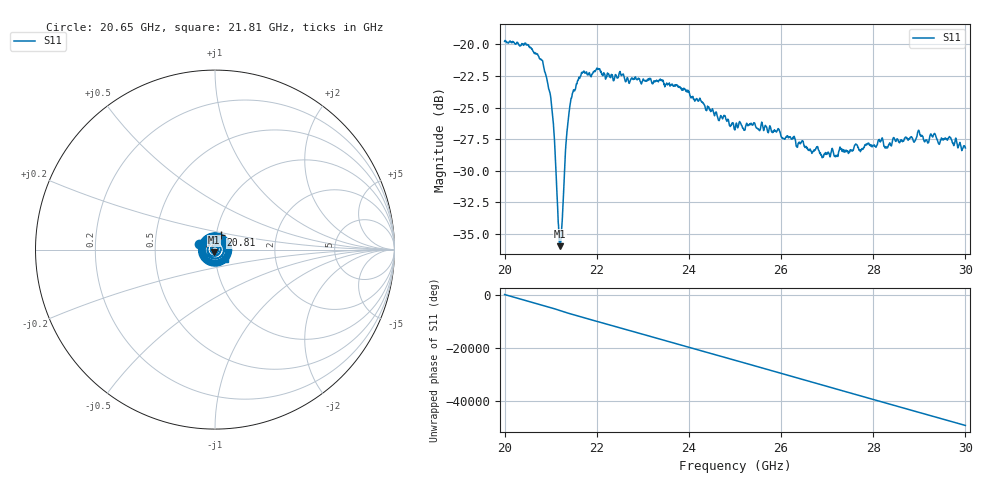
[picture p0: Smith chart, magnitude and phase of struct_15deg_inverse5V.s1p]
#  HZ  S  RI  R  50.00
! Rohde & Schwarz ZVA40 4Ports - Version 3.90 - 1145.1110k42 SN: 100403
! Date: 2023-09-30 05:48:49
! Measurement: S12
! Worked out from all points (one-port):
!   5001 points, 20 GHz to 30 GHz, reference 50 ohm
!   lowest |S11| = -36.0 dB at 21.19 GHz (marker M1), VSWR 1.03, Z = 49.5 - j1.5 ohm
!   |S11| at or under -10 dB: start of sweep to end of sweep
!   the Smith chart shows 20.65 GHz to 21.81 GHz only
!   S11 on the Smith chart (normalised r, x): 20.65 GHz: 0.84, +0.06; 20.81 GHz: 1.05, +0.17; 21.81 GHz: 1.11, -0.12
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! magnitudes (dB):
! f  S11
! 20 GHz  -19.8
! 20.47 GHz  -20.0
! 20.65 GHz  -20.7
! 20.81 GHz  -21.3
! 20.96 GHz  -23.5
! 21.03 GHz  -25.2
! 21.08 GHz  -27.5
! 21.16 GHz  -34.1
! 21.19 GHz  -36.0
! 21.22 GHz  -35.6
! 21.25 GHz  -33.9
! 21.35 GHz  -27.1
! 21.44 GHz  -24.4
! 21.65 GHz  -22.5
! 21.81 GHz  -22.4
! 22.02 GHz  -22.0
! 22.5 GHz  -22.2
! 23.75 GHz  -23.2
! 25 GHz  -26.7
! 25.38 GHz  -26.4
! 26.25 GHz  -27.5
! 26.89 GHz  -28.9
! 27.5 GHz  -28.3
! 28.75 GHz  -27.5
! 29 GHz  -27.0
! 29.16 GHz  -27.6
! 29.3 GHz  -27.3
! 30 GHz  -28.2
